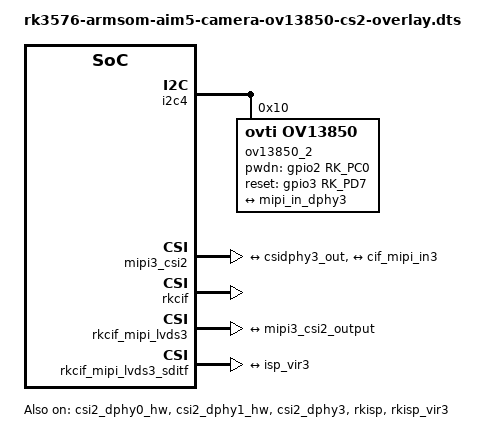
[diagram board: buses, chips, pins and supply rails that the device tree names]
/dts-v1/;
/plugin/;

#include <dt-bindings/clock/rockchip,rk3576-cru.h>
#include <dt-bindings/power/rk3576-power.h>
#include <dt-bindings/gpio/gpio.h>
#include <dt-bindings/pinctrl/rockchip.h>

/ {
	fragment@0 {
		target = <&i2c4>;
		__overlay__ {
			#address-cells = <1>;
            #size-cells = <0>;
            status = "okay";
            pinctrl-names = "default";
            pinctrl-0 = <&i2c4m0_xfer>;

            ov13850_2: ov13850_2@10 {
                status = "okay";
                compatible = "ovti,ov13850";
                reg = <0x10>;
                clocks = <&cru REF_CLK0_OUT_PLL>; 
                clock-names = "xvclk";
                pinctrl-names = "rockchip,camera_default";
                pinctrl-0 = <&ref_clk0_clk0>;
                pwdn-gpios = <&gpio2 RK_PC0 GPIO_ACTIVE_HIGH>;
                reset-gpios = <&gpio3 RK_PD7 GPIO_ACTIVE_HIGH>;
                rockchip,camera-module-index = <3>;
                rockchip,camera-module-facing = "back";
                rockchip,camera-module-name = "ZC-OV13850R2A-V1";
                rockchip,camera-module-lens-name = "Largan-50064B31";
                port {
                    ov13850_out2: endpoint {
                        remote-endpoint = <&mipi_in_dphy3>;
                        data-lanes = <1 2 3 4>;
                    };
                };
            };
		};
	};

	fragment@1 {
		target = <&csi2_dphy0_hw>;
		__overlay__ {
			status = "okay";
		};
	};

	fragment@2 {
		target = <&csi2_dphy1_hw>;
		__overlay__ {
			status = "okay";
		};
	};

/* 3. ov13850_2 (i2c4) -> csi2_dphy3 -> mipi3_csi2 -> rkcif_mipi_lvds3 -> isp_vir3 */
	fragment@3 {
		target = <&csi2_dphy3>;
		__overlay__ {
			status = "okay";
            ports {
                #address-cells = <1>;
                #size-cells = <0>;

                port@0 {
                    reg = <0>;
                    #address-cells = <1>;
                    #size-cells = <0>;

                    mipi_in_dphy3: endpoint@1 {
                        reg = <1>;
                        remote-endpoint = <&ov13850_out2>;
                        data-lanes = <1 2 3 4>;
                    };

                };

                port@1 {
                    reg = <1>;
                    #address-cells = <1>;
                    #size-cells = <0>;

                    csidphy3_out: endpoint@0 {
                        reg = <0>;
                        remote-endpoint = <&mipi3_csi2_input>;
                    };
                };
            };
		};
	};

	fragment@4 {
		target = <&mipi3_csi2>;
		__overlay__ {
			status = "okay";
            ports {
                #address-cells = <1>;
                #size-cells = <0>;

                port@0 {
                    reg = <0>;
                    #address-cells = <1>;
                    #size-cells = <0>;

                    mipi3_csi2_input: endpoint@1 {
                        reg = <1>;
                        remote-endpoint = <&csidphy3_out>;
                    };
                };

                port@1 {
                    reg = <1>;
                    #address-cells = <1>;
                    #size-cells = <0>;

                    mipi3_csi2_output: endpoint@0 {
                        reg = <0>;
                        remote-endpoint = <&cif_mipi_in3>;
                    };
                };
            };
		};
	};

	fragment@5 {
		target = <&rkcif>;
		__overlay__ {
			status = "okay";
		};
	};

    fragment@6 {
		target = <&rkcif_mmu>;

		__overlay__ {
			status = "okay";
		};
	};

	fragment@7 {
		target = <&rkisp>;

		__overlay__ {
			status = "okay";
		};
	};
	
	fragment@8 {
		target = <&rkisp_mmu>;

		__overlay__ {
			status = "okay";
		};
	};

/* ov13850_2 (i2c4) */
	fragment@9 {
		target = <&rkcif_mipi_lvds3>;
		__overlay__ {
			status = "okay";
            port {
                cif_mipi_in3: endpoint {
                    remote-endpoint = <&mipi3_csi2_output>;
                };
            };
		};
	};

	fragment@10 {
		target = <&rkcif_mipi_lvds3_sditf>;
		__overlay__ {
			status = "okay";
            port {
                mipi3_lvds_sditf: endpoint {
                    remote-endpoint = <&isp_vir3>;   
                };
            };
		};
	};

	fragment@11 {
		target = <&rkisp_vir3>;
		__overlay__ {
			status = "okay";
            port {
                #address-cells = <1>;
                #size-cells = <0>;

                isp_vir3: endpoint@0 {
                    reg = <0>;
                    remote-endpoint = <&mipi3_lvds_sditf>;
                };
            };
		};
	};
};
